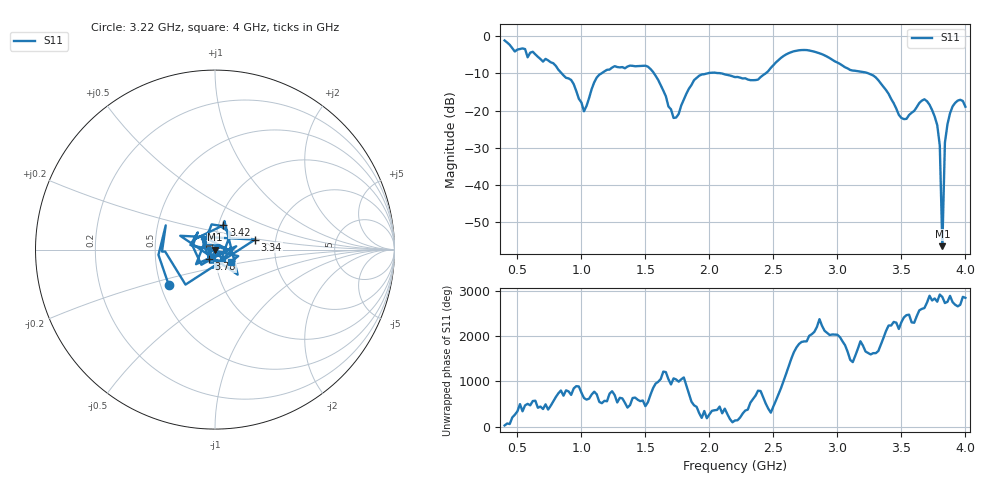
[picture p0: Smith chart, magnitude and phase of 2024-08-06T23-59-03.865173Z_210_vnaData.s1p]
!Created with skrf (http://scikit-rf.org).
# Hz S RI R 50.0
!freq ReS11 ImS11
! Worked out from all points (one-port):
!   181 points, 400 MHz to 4 GHz, reference 50 ohm
!   lowest |S11| = -56.4 dB at 3.82 GHz (marker M1), VSWR 1.00, Z = 50.1 - j0.0499 ohm
!   |S11| at or under -10 dB: 1.567 GHz to 1.988 GHz (421.2 MHz wide, 23.7 % of centre); 2.088 GHz to 2.441 GHz (353 MHz wide, 15.6 % of centre); 3.24 GHz to end of sweep (the widest 3 of 4)
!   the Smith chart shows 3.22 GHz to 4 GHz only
!   S11 on the Smith chart (normalised r, x): 3.22 GHz: 0.55, -0.24; 3.34 GHz: 1.56, +0.18; 3.42 GHz: 1.06, +0.29; 3.78 GHz: 0.93, -0.10; 4 GHz: 1.18, -0.16
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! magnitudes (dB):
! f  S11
! 400 MHz  -1.2
! 860 MHz  -10.6
! 940 MHz  -12.9
! 1.02 GHz  -20.2
! 1.12 GHz  -11.1
! 1.3 GHz  -8.4
! 1.52 GHz  -8.2
! 1.6 GHz  -11.8
! 1.72 GHz  -22.0
! 1.76 GHz  -20.9
! 1.92 GHz  -10.7
! 2.2 GHz  -11.0
! 2.38 GHz  -11.7
! 2.66 GHz  -4.1
! 3.1 GHz  -9.1
! 3.22 GHz  -9.8
! 3.34 GHz  -12.8
! 3.42 GHz  -16.9
! 3.5 GHz  -22.0
! 3.56 GHz  -21.2
! 3.68 GHz  -17.0
! 3.78 GHz  -23.9
! 3.8 GHz  -29.4
! 3.82 GHz  -56.4
! 3.84 GHz  -28.6
! 3.86 GHz  -23.7
! 3.92 GHz  -17.9
! 4 GHz  -19.0
